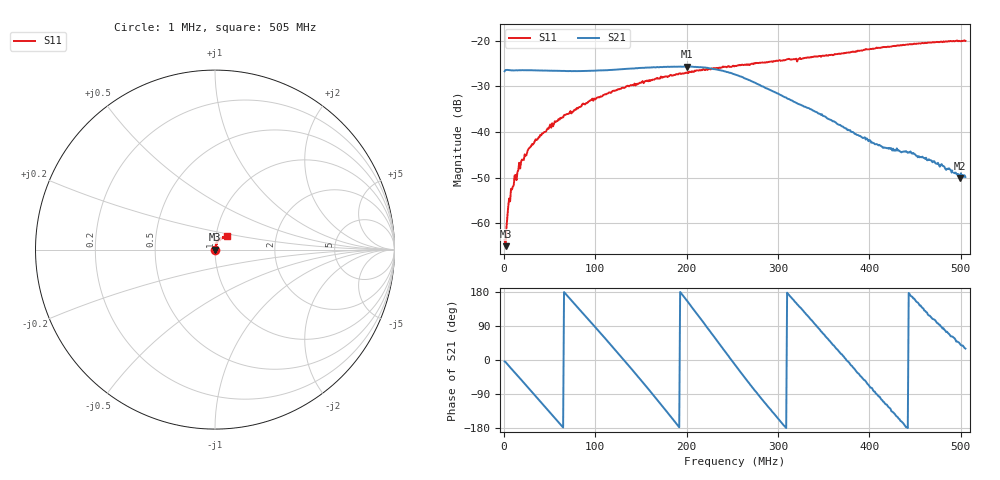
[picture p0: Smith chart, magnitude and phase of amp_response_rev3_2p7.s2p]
# HZ S RI R 50
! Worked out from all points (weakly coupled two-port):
!   505 points, 1 MHz to 505 MHz, reference 50 ohm
!   highest |S21| = -25.66 dB at 200 MHz (marker M1); lowest = -50.1 dB at 499 MHz (marker M2)
!   lowest |S11| = -65.0 dB at 2 MHz (marker M3), VSWR 1.00, Z = 49.9 + j0.0109 ohm
!   |S11| at or under -10 dB: start of sweep to end of sweep
!   S12 and S22 are empty: the file has one direction only
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1000000  -0.000658 1.77e-05  0.0462 -0.00321  0 0  0 0
2000000  -0.000553 0.000109  0.0476 -0.00436  0 0  0 0
6000000  -7e-05 0.00187  0.0455 -0.0136  0 0  0 0
7000000  4.5e-05 0.00175  0.0447 -0.0157  0 0  0 0
1.1e7  5.9e-05 0.00262  0.0409 -0.0236  0 0  0 0
2.1e7  0.000873 0.00489  0.0257 -0.04  0 0  0 0
2.9e7  0.00121 0.00672  0.00871 -0.0467  0 0  0 0
4.9e7  0.00254 0.0106  -0.0329 -0.0336  0 0  0 0
8.5e7  0.00543 0.0184  -0.0283 0.0369  0 0  0 0
1.06e8  0.00716 0.0234  0.0157 0.0446  0 0  0 0
1.31e8  0.00806 0.0294  0.0489 0.00109  0 0  0 0
1.69e8  0.0102 0.0369  -0.016 -0.0487  0 0  0 0
2e8  0.0116 0.0429  -0.0483 0.0197  0 0  0 0
2.23e8  0.0129 0.0462  0.00499 0.0502  0 0  0 0
2.53e8  0.0141 0.0511  0.0417 -0.00932  0 0  0 0
2.96e8  0.0203 0.0563  -0.0219 -0.0167  0 0  0 0
3.37e8  0.0283 0.0601  -0.00441 0.017  0 0  0 0
4.04e8  0.0459 0.0678  0.00134 -0.00749  0 0  0 0
4.21e8  0.0495 0.0702  -0.00372 -0.00541  0 0  0 0
4.47e8  0.055 0.073  -0.00564 0.00134  0 0  0 0
4.99e8  0.0641 0.0753  0.00231 0.00212  0 0  0 0
5.05e8  0.0655 0.0752  0.00279 0.00162  0 0  0 0
